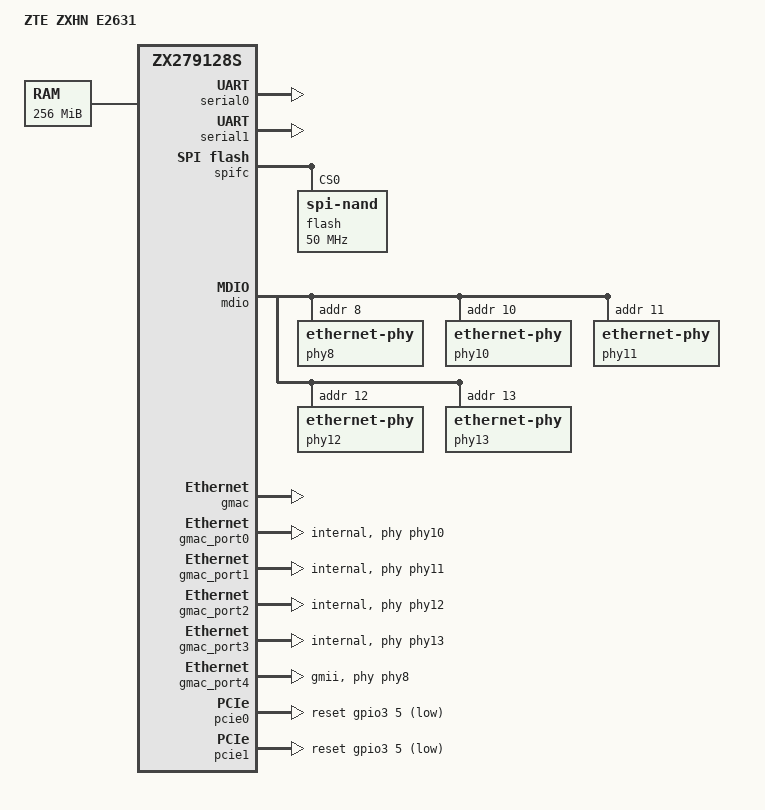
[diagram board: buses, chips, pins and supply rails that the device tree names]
// SPDX-License-Identifier: GPL-2.0-only OR BSD-2-Clause
/*
 * ZTE ZXHN E2631 (Sanechips ZX279128S, 2x ARM Cortex-A9) - stage 1 bring-up.
 *
 * Lives in the OpenWrt target, not in the kernel tree. It sits on top of the
 * SoC description that target patch 025 installs at
 * arch/arm/boot/dts/zte/zx279128s.dtsi, so every register window, interrupt
 * number and clock cell is inherited from there rather than copied here.
 *
 * Scope of this revision: reach a shell over UART, read the SPI-NAND, and let
 * the MDIO bus be probed. It turns on the peripherals that need no
 * board-specific wiring and stages PCIe and the panel behind the measurement
 * that fills them in. USB is deliberately left off - see the note on &usb
 * below; it is the one peripheral here that is known to be harmful.
 * Nothing in this file causes a write to flash.
 *
 * How to read a node's status:
 *   "okay"      its values are either inherited from the SoC file or measured
 *               on this board
 *   "disabled"  it is a shape waiting for a measurement; the comment on it
 *               names the TODO id and where the number has to come from
 *
 * Board provenance, strongest first:
 *
 *   1. the live /sys/firmware/fdt of this very board (an E2631 running the
 *      stock firmware), pulled over tftp and archived as refs/e2631_live.dtb
 *      with its decoded tree in refs/e2631_live_dt_tree.txt. This is the
 *      authoritative description of this hardware, and the analysis of it is
 *      in E2631原厂硬件视图-2026-10-12.txt. Where this file states a value it
 *      is because of this source.
 *   2. the DTB appended to the kernel1 partition of the same firmware - same
 *      tree, except that the kernel rewrites the memory node and bootargs at
 *      boot. Useful for seeing what the kernel changed.
 *   3. the vendor U-Boot description of firmware ZXHN E2631 V1.0.0.6B5.8000
 *      as transcribed by Zlion-Y/e2631-mainline-zx279128s, and the live fdt
 *      of a ZXHN F670L in cubingmucus998/zte-zx279128s-recon. Same silicon,
 *      so their values are evidence, but they are not this board.
 *
 * Anything that still starts with TODO is not in any of the three, and has to
 * be measured on this board: the panel, the port mapping and the PCIe reset
 * line are the whole of that list.
 */

/dts-v1/;

#include <dt-bindings/gpio/gpio.h>
#include <dt-bindings/leds/common.h>
#include <dt-bindings/input/input.h>

#include "zte/zx279128s.dtsi"

/ {
	model = "ZTE ZXHN E2631";
	compatible = "zte,zxhn-e2631", "zte,zx279128s";

	aliases {
		serial0 = &serial0;
		serial1 = &serial1;
		ethernet0 = &gmac;
		/*
		 * TODO-L1 once a power LED has been identified, point these at
		 * it so OpenWrt signals boot, failsafe and upgrade on the panel:
		 *   led-boot / led-failsafe / led-running / led-upgrade
		 * Until then nothing on the front panel tracks the boot state,
		 * which is acceptable for an image that only ever runs from RAM.
		 */
	};

	chosen {
		bootargs = "console=ttyAMA0,115200n8";
		stdout-path = "serial0:115200n8";
	};

	memory@40000000 {
		device_type = "memory";
		/*
		 * TODO-M1 closed: 256 MiB, measured on the running board.
		 *
		 * The stock firmware's own device tree is the source. Its
		 * /proc/device-tree/memory/reg reads 40 00 00 00 10 00 00 00,
		 * i.e. base 0x40000000 size 0x10000000, and its chosen/bootargs
		 * carries mem=256M, which is what the kernel rewrote that node
		 * from. /proc/iomem agrees (System RAM 0x40000000-0x4fffffff).
		 *
		 * Two traps, both from an earlier reading of this board:
		 *   - The same tree also has a memory@40000000 node still saying
		 *     0x20000000 (512 MiB). That one is a stale leftover nobody
		 *     rewrote; it is not evidence of 512 MiB and not evidence of
		 *     a contradiction.
		 *   - 128 MiB was used here before because it was the only size
		 *     known to boot. It boots because it is a subset, not because
		 *     it is right. The hardware has 256 MiB.
		 */
		reg = <0x40000000 0x10000000>;
	};

	/*
	 * No reserved-memory node.
	 *
	 * The H3600 keeps the top 38 MiB away from Linux for its packet
	 * processor, but that is that board's arrangement. Here the vendor
	 * device tree's memory reservations section is empty, and the stock
	 * kernel boots with all 256 MiB usable, so reserving anything would
	 * be inventing a hole.
	 */
};

/*
 * Console. 0x94404000 / 0x94405000 with GIC_SPI 11 and 12 are identical in the
 * vendor descriptions of all three boards seen so far, so these are settled.
 */
&serial0 {
	status = "okay";
};

&serial1 {
	status = "okay";
};

/*
 * SPI-NAND. The controller window 0x94406000 + 0x1000 and GIC_SPI 13 match the
 * vendor's own node, and the driver is the one patch 021/022 add.
 */
&spifc {
	status = "okay";

	flash@0 {
		compatible = "spi-nand";
		reg = <0>;
		/*
		 * TODO-F1 taken from the H3600, which drives the same HYF1GQ4U
		 * family at 50 MHz with 2 data lines on read. U-Boot on this board
		 * identifies the chip as HYF1GQ4UTACAE, manuf 0x01 / chip 0x15.
		 * If reads come back with ECC errors or the controller stalls,
		 * drop this to <10000000>: 10 MHz was shown to checksum correctly.
		 */
		spi-max-frequency = <50000000>;
		spi-rx-bus-width = <2>;
		spi-tx-bus-width = <1>;

		/*
		 * No fixed-partitions child in this stage, on purpose: this
		 * stage exists to dump the chip, and one mtd spanning all
		 * 128 MiB is what tools/probe-e2631.sh consumes. No live node
		 * here means no label in this tree can be mistaken for a
		 * measurement.
		 *
		 * The layout IS now known. Source of truth: the vendor kernel
		 * carries its own partition table, in vmlinux at file offset
		 * 0x432358 - 15 entries, 0x20 bytes apart, {char *name;
		 * u32 pad; u64 size; u64 offset; u64 pad;}. It is not in
		 * /proc/cmdline and not in the device tree. It was then checked
		 * against the raw 128 MiB dump: cspboot's 32-byte slot marker
		 * (33 33 33 33 CC CC CC CC 88 88 88 88 DD DD DD DD) reads back
		 * at 0x700000 and 0x2300000 - exactly the two addresses the
		 * table itself calls kernel1 and kernel2 - and flash@0x6E00000
		 * equals mtdblock13 byte for byte.
		 *
		 *   name         offset       size        name         offset       size
		 *   bootloader   0x0000000    0x100000    defcfg       0x0500000    0x200000
		 *   tag          0x0100000    0x100000    kernel1      0x0700000    0x1C00000
		 *   wifi         0x0200000    0x100000    kernel2      0x2300000    0x1C00000
		 *   usercfg      0x0300000    0x200000    (rootfs)     -            -
		 *   UNIFIED      0x6E00000    0x100000    UUPlugin     0x6F00000    0x500000
		 *   DPIPlugin    0x7400000    0x300000    JDXBPLUGIN   0x7700000    0x180000
		 *   owdptsbin    0x7900000    0x0A0000    status       0x7A00000    0x500000
		 *
		 * kernel1 and kernel2 are the two 28 MiB A/B firmware slots, and
		 * each carries its own kernel and its own rootfs. The table's
		 * rootfs row is the placeholder (0,0) precisely because rootfs
		 * has no span of its own. Slot A: kernel at 0x700000 (3.25 MiB),
		 * rootfs at 0xA40000 (18.125 MiB), version header at 0x1C60000.
		 * Slot B mirrors it at 0x2300000 / 0x2640000 / 0x3860000. The
		 * 47 MiB from 0x3F00000 to 0x6E00000 is erased and free.
		 *
		 * Two things must be settled before this becomes live nodes in
		 * stage 2. Both are stage 2 questions, because neither affects
		 * an image that never writes:
		 *   - the vendor rootfs partitions are AES-128-ECB ciphertext on
		 *     flash (the vendor read path decrypts transparently), so
		 *     anything that interprets them has to decrypt offline;
		 *   - it is not yet proven that cspboot will boot a plaintext
		 *     slot, which is the same question as whether an
		 *     OpenWrt-written slot is bootable at all.
		 */
	};
};

/*
 * MDIO and the Ethernet ports.
 *
 * TODO-N1 what is settled, and what is not.
 *
 * Settled, from the stock firmware's own device tree:
 *   - the MDIO controller is at 0x9a101000 (0x18 bytes) and is enabled;
 *   - the SoC has four internal GEPHY blocks at 0x9b000000, 0x9b100000,
 *     0x9b200000 and 0x9b300000, interrupts 39..42. These are SoC-fixed,
 *     not board choices, and they match the H3600 exactly.
 *
 * Settled, from the stock firmware's running network stack:
 *   - this board has **four** gigabit ports, not five: br0 in the vendor
 *     firmware bridges eth1, eth2 and eth3 only, and eth0 is the sole
 *     PROMISC + UP uplink, i.e. WAN. So one WAN plus three LAN.
 *
 * NOT settled, and not guessable from the above:
 *   - which gmac_port maps to which panel socket, and which of the four
 *     is the WAN. The mapping the H3600 uses (port0..3 = LAN, port4 =
 *     WAN with an external ZX5201 on MDIO address 8) is that board's
 *     wiring. Copying it here would be a guess dressed as a measurement.
 *   - whether this board has any external PHY at all. Four internal
 *     GEPHY blocks cover four ports, so it may well have none.
 *
 * The nodes below are therefore kept as a working shape rather than as
 * a claim: whichever port has no PHY answering simply never gets a
 * netdev, dmesg says so per port, and everything else on the board still
 * boots. What fills this in is the probe, not further reasoning:
 *   tools/probe-e2631.sh mdio   lists every address that answers, and
 *   tools/probe-e2631.sh net    snapshots carrier per netdev, which
 *                               turns into the socket mapping once a
 *                               cable is moved from one port to the next.
 *
 * If boot ever stalls inside phylink, set &gmac back to "disabled": the
 * console and the flash dump do not depend on it.
 */
&mdio {
	status = "okay";

	/*
	 * TODO-N2 the H3600 muxes its external PHY through the pinctrl group
	 * ext_phy_pins (defined in the SoC file). Whether this board needs
	 * the same pins is unknown, so it is not referenced here. If the
	 * expected PHYs stay silent at every address, add:
	 *   pinctrl-names = "default";
	 *   pinctrl-0 = <&ext_phy_pins>;
	 */
	phy8: ethernet-phy@8 {
		reg = <8>;
	};

	phy10: ethernet-phy@10 {
		reg = <10>;
	};

	phy11: ethernet-phy@11 {
		reg = <11>;
	};

	phy12: ethernet-phy@12 {
		reg = <12>;
	};

	phy13: ethernet-phy@13 {
		reg = <13>;
	};
};

&gmac {
	status = "okay";
};

/*
 * TODO-N1 the four port nodes below carry no "label" on purpose.
 *
 * The board has four sockets, but nothing measured so far says which gmac
 * port drives which socket, or which one is the WAN. A label is a claim
 * about the panel, so writing "lan1"/"wan" here would bake a guess into
 * every interface name downstream (board.d, firewall zones, the lot).
 * Without a label the ports still come up as plain netdevs, which is all
 * stage 1 needs, and the mapping gets filled in from the probe's carrier
 * snapshot once a cable is walked from socket to socket.
 *
 * The phy-handle values are the H3600's and are equally unverified. They
 * are kept because the four internal GEPHY blocks are SoC-fixed, so some
 * address in this range almost certainly answers; the probe's "mdio" mode
 * prints which ones actually do.
 */
&gmac_port0 {
	phy-handle = <&phy10>;
	phy-mode = "internal";
	status = "okay";
};

&gmac_port1 {
	phy-handle = <&phy11>;
	phy-mode = "internal";
	status = "okay";
};

&gmac_port2 {
	phy-handle = <&phy12>;
	phy-mode = "internal";
	status = "okay";
};

&gmac_port3 {
	phy-handle = <&phy13>;
	phy-mode = "internal";
	status = "okay";
};

/*
 * TODO-N1 port4 is probably not wired on this board.
 *
 * The H3600 uses a fifth port for WAN behind an external ZX5201 PHY on
 * MDIO address 8. This board only has four sockets, and four internal
 * GEPHY blocks already cover them, so a fifth port would need an external
 * PHY that may not be there. Kept enabled so the boot log answers the
 * question instead of the comment: if nothing answers at address 8, this
 * port simply never appears, and that is the measurement.
 */
&gmac_port4 {
	phy-handle = <&phy8>;
	phy-mode = "gmii";
	status = "okay";
};

/* ---------------------------------------------------------------------------
 * Peripherals
 *
 * Everything below is a status plus board wiring, if any: every register
 * window and interrupt comes from the SoC file this one includes.
 * ------------------------------------------------------------------------- */

/*
 * USB. Deliberately NOT enabled, and not by oversight.
 *
 * The SoC has two controllers - DWC3 at 0x09100000 (GIC_SPI 50) and DWC2 at
 * 0x09000000 (GIC_SPI 44) - and the stock firmware device tree marks both
 * "okay". On this board, reaching either of them is harmful: the reports are
 * of the USB controller being touched, the system then hanging, and the
 * hardware watchdog restarting it in a loop. A board that reboots in a loop
 * is not a board that can be probed, so USB stays off rather than being a
 * cheap thing to try.
 *
 * Three separate switches all have to stay off, and this file is only the
 * first of them:
 *   1. here - &usb keeps its inherited status = "disabled", so no controller
 *      is registered and nothing pokes 0x09100000;
 *   2. seed/e2631.config turns CONFIG_USB_SUPPORT off, so no USB code is
 *      built into the kernel at all;
 *   3. this device's fragment carries no USB kmod, so no module can bring a
 *      controller back up at runtime. (The H3600 relies on DEVICE_PACKAGES
 *      for that; nothing does here.)
 *
 * Note the interaction with the target's own config, which is why (2) has to
 * be explicit: config-6.18 sets CONFIG_USB=m and CONFIG_USB_DWC3=m, and
 * kmod-usb-dwc3 is a package a later change could pull in without anyone
 * intending to enable USB. Turning the symbols off in the seed removes that
 * possibility instead of relying on nobody adding the package.
 *
 * TODO-U1 is withdrawn, not deferred. Whether the panel area exposes a USB
 * socket is no longer a question worth answering: even if it does, this board
 * must not bring the controller up. If that ever changes it needs a kernel
 * that has been shown not to hang first, not a device tree edit.
 */
&usb {
	status = "disabled";
};

/*
 * PCIe. Both controllers are fully described in the SoC file - dbi, ctrl and
 * config windows, outbound ranges, dma-ranges and the pinctrl groups - so the
 * only thing missing is board wiring: the reset and enable lines.
 *
 * TODO-W1 the pair below is a guess, and the vendor tree argues against it.
 *
 * What the guess is: <&gpio3 5> and <&gpio3 7>, copied from the H3600, where
 * a single MT7915 hangs off both links and either controller may release it.
 *
 * Why it is weaker than it looks. The stock firmware's own device tree has a
 * pcie@10000000 node that is status "okay" and carries no board wiring at
 * all: no reg, no reset-gpios, no enable-gpios, no pinctrl-0. Whatever resets
 * this link, the vendor does not express it in the device tree - it is either
 * done by the boot loader before Linux starts, or hard-wired in the vendor
 * driver. So there is no positive evidence for gpio3 5 / gpio3 7 here, only
 * the shared-SoC resemblance.
 *
 * What the vendor tree does settle: its node lists four interrupts (SPI 63,
 * 78, 59, 74), and 63 and 78 are exactly the two controllers' main
 * interrupts in the SoC file. So this board has two PCIe controllers, like
 * the H3600, and is expected to carry one MT7916 (CONFIG_WLAN_MTK_7916 is in
 * the vendor config); whether that chip answers on one link or two is
 * unmeasured.
 *
 * Unlike a wrong LED GPIO, a wrong reset line is not cosmetic: the controller
 * can hang. If the boot log stops inside the PCIe driver, set both nodes back
 * to "disabled" and boot again - this image never writes flash, so the retry
 * costs nothing. The link is worth having: without it there is no Wi-Fi, and
 * probe mode "pcie" is what tells us whether anything enumerated.
 */
&pcie0 {
	reset-gpios = <&gpio3 5 GPIO_ACTIVE_LOW>;
	enable-gpios = <&gpio3 7 GPIO_ACTIVE_HIGH>;
	status = "okay";
};

&pcie1 {
	reset-gpios = <&gpio3 5 GPIO_ACTIVE_LOW>;
	enable-gpios = <&gpio3 7 GPIO_ACTIVE_HIGH>;
	status = "okay";
};

/*
 * The panel: LEDs and buttons.
 *
 * TODO-L1 deliberately left as a shape rather than a node. LED routing is per
 * board, so not one of the H3600's numbers may be copied, and a wrong number
 * here would be a silently wrong claim. Identify the real lines by toggling
 * each GPIO and watching the front panel (tools/probe-e2631.sh, "gpio" mode),
 * then uncomment this into the root node and fill the numbers in:
 *
 * A note on why the stock device tree cannot help either: it has no led or
 * key node at all (checked against the live /sys/firmware/fdt, 27 nodes under
 * /soc and not one gpio consumer among them). That is not an omission - the
 * vendor kernel carries CONFIG_CSPKERNEL_LEDKEY, its own LED/key framework,
 * and drives the panel from that instead of through gpio-leds/gpio-keys. So
 * there is no upstream-readable description of this board's panel anywhere.
 * Only a measurement on the physical board produces the numbers.
 *
 *	leds {
 *		compatible = "gpio-leds";
 *
 *		led_power: led-power {
 *			function = LED_FUNCTION_POWER;
 *			gpios = <&gpioN M GPIO_ACTIVE_LOW>;
 *			default-state = "on";
 *		};
 *	};
 *
 *	keys {
 *		compatible = "gpio-keys-polled";
 *		poll-interval = <50>;	// &gpio has no interrupt support
 *
 *		key-reset {
 *			label = "reset";
 *			gpios = <&gpioN M GPIO_ACTIVE_LOW>;
 *			linux,code = <KEY_RESTART>;
 *			debounce-interval = <60>;
 *		};
 *	};
 *
 * The aliases block at the top of this file is where led-boot, led-running
 * and the rest get pointed at those nodes once they exist.
 */

/*
 * TODO-A1 the MAC address. The H3600 reads six bytes at offset 0x1e of the
 * "tag" partition (flash 0x100000) and the WAN port uses the next one. That
 * partition exists here and is plaintext, but the offset is unverified. Until
 * it is measured - the same probe prints the tag header - the interfaces come
 * up with a random locally administered address, which is acceptable for a
 * RAM image and must not ship.
 *
 *	&gmac_port0 {
 *		nvmem-cells = <&macaddr_tag_1e 0>;
 *		nvmem-cell-names = "mac-address";
 *	};
 *
 * That needs the tag partition's fixed-partitions child and an nvmem-layout,
 * which is a stage 2 change: it is the point where the flash layout becomes
 * live in this tree.
 */
